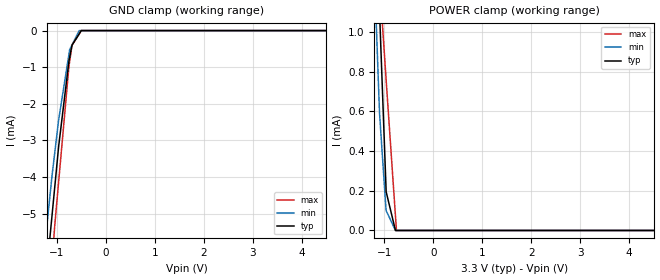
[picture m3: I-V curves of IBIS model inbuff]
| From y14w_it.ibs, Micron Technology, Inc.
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|   inbuff MODEL
[Model]   inbuff
Model_type   Input
Vinl = 800.000mV
Vinh = 2.000V
|   typ   min   max
C_comp   2.250pF   2.000pF   2.500pF
[Voltage Range]   3.300V   3.000V   3.600V
| Junction Temperature (Ambient temp is 25C typ, 85C min, -40C max)
[Temperature Range]   40.0   100.0   -40.0
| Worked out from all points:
|   GND clamp passes 1 mA (typ) near -0.77 V on its own axis
|   POWER clamp passes 1 mA (typ) near -1.08 V on its own axis
[GND Clamp]
|   Voltage   I(typ)   I(min)   I(max)
-3.3V     -734.1mA   -777.8mA   -667.3mA
-1.22V    -6.851mA   -5.569mA   -8.479mA
-1.155V   -5.878mA   -4.731mA   -7.34mA
-1.095V   -5.041mA   -3.959mA   -6.288mA
-1.04V    -4.274mA   -3.337mA   -5.324mA
-960mV    -3.159mA   -2.436mA   -4.122mA
-750mV    -831.5uA   -645.9uA   -972.5uA
-735mV    -726.2uA   -518.6uA   -834.6uA
-685mV    -391uA     -385.3uA   -395.1uA
-540mV    -88.14uA   0A         -91.67uA
-500mV    0A         0A         0A
6.6V      0A         0A         0A
[POWER Clamp]
|   Voltage   I(typ)   I(min)   I(max)
-3.3V     36.03mA    30.53mA    42.81mA
-1.22V    2.206mA    1.434mA    3.508mA
-1.155V   1.504mA    993.7uA    2.623mA
-1.1V     1.135mA    620.8uA    1.874mA
-1.095V   1.101mA    590.3uA    1.806mA
-1.04V    731.8uA    387.9uA    1.057mA
-1.035V   698.2uA    369.5uA    1.033mA
-965mV    228.1uA    112uA      774.3uA
-960mV    194.5uA    99.85uA    755.9uA
-770mV    0A         0A         NA
-750mV    0A         0A         0A
6.6V      0A         0A         0A
